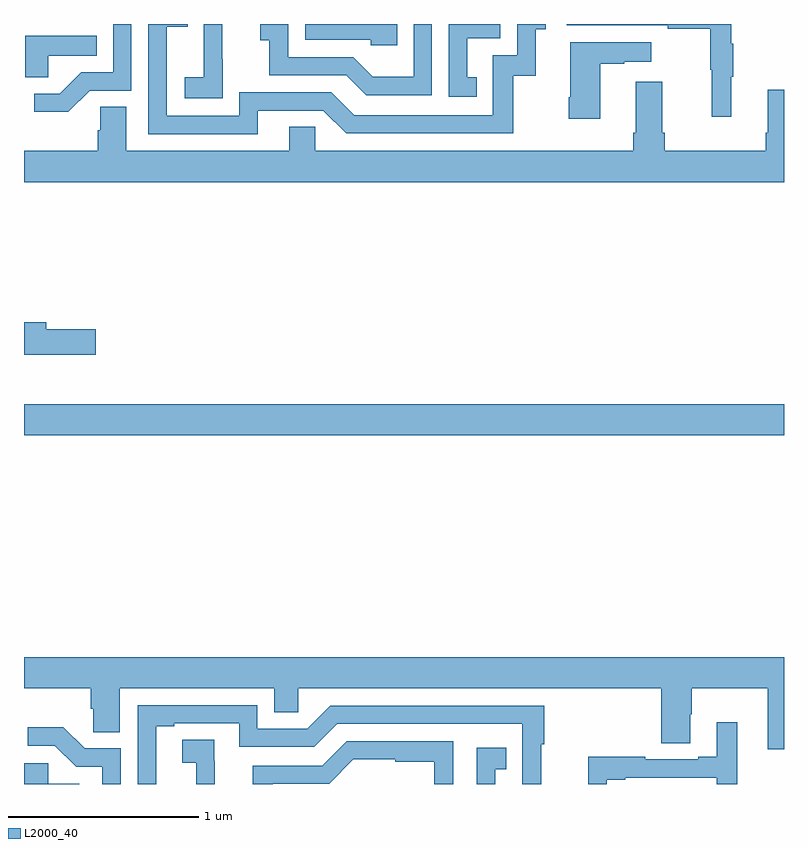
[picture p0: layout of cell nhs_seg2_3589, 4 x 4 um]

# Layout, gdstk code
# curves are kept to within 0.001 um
import gdstk
lib = gdstk.Library(unit=1e-6, precision=1e-09)
def R(c, l, rs):  # rectangles x0, y0, x1, y1
    for r in rs: c.add(gdstk.rectangle(r[:2], r[2:], *l))
def P(c, l, *ps):  # polygons
    for p in ps: c.add(gdstk.Polygon(p, *l))
L2000_40 = (2000, 40)

nhs_seg2_3589 = lib.new_cell('nhs_seg2_3589')
R(nhs_seg2_3589, L2000_40, [(299,647.636,303,647.8)])
P(nhs_seg2_3589, L2000_40, [(302.723,649.523),(302.734,649.523),(302.734,649.697),(302.723,649.697),(302.723,649.8),(301.857,649.8),(301.857,649.794),(302.389,649.794),(302.389,649.774),(302.613,649.774),(302.613,649.56),(302.62,649.56),(302.62,649.311),(302.723,649.311)],
  [(300.229,649.344),(300.576,649.344),(300.696,649.224),(301.576,649.224),(301.576,649.527),(301.694,649.527),(301.694,649.773),(301.747,649.773),(301.747,649.8),(301.596,649.8),(301.596,649.635),(301.467,649.635),(301.467,649.32),(300.738,649.32),(300.618,649.44),(300.132,649.44),(300.132,649.317),(299.751,649.317),(299.751,649.786),(299.861,649.786),(299.861,649.8),(299.655,649.8),(299.655,649.221),(300.229,649.221)],
  [(301.382,649.521),(301.333,649.521),(301.333,649.725),(301.506,649.725),(301.506,649.8),(301.236,649.8),(301.236,649.416),(301.382,649.416)],
  [(301.146,649.8),(301.05,649.8),(301.05,649.522),(300.836,649.522),(300.732,649.626),(300.39,649.626),(300.39,649.8),(300.243,649.8),(300.243,649.715),(300.292,649.715),(300.292,649.53),(300.695,649.53),(300.8,649.425),(301.146,649.425)],
  [(300.965,649.8),(300.48,649.8),(300.48,649.716),(300.825,649.716),(300.825,649.689),(300.965,649.689)],
  [(300.045,649.615),(300.044,649.615),(300.044,649.8),(299.946,649.8),(299.946,649.748),(299.945,649.748),(299.945,649.519),(299.847,649.519),(299.847,649.409),(300.045,649.409)],
  [(299.346,649.449),(299.565,649.449),(299.565,649.8),(299.469,649.8),(299.469,649.545),(299.3,649.545),(299.189,649.434),(299.055,649.434),(299.055,649.337),(299.233,649.337)],
  [(299.127,649.634),(299.384,649.634),(299.384,649.738),(299.006,649.738),(299.006,649.519),(299.127,649.519)],
  [(302.032,649.591),(302.159,649.591),(302.159,649.601),(302.302,649.601),(302.302,649.705),(301.874,649.705),(301.874,649.414),(301.867,649.414),(301.867,649.302),(302.032,649.302)],
  [(303,649.453),(302.915,649.453),(302.915,649.228),(302.903,649.228),(302.903,649.132),(302.372,649.132),(302.372,649.228),(302.359,649.228),(302.359,649.495),(302.219,649.495),(302.219,649.228),(302.207,649.228),(302.207,649.132),(300.534,649.132),(300.534,649.259),(300.395,649.259),(300.395,649.132),(299.539,649.132),(299.539,649.364),(299.4,649.364),(299.4,649.241),(299.387,649.241),(299.387,649.132),(299,649.132),(299,648.968),(303,648.968)],
  [(299.377,648.194),(299.116,648.194),(299.116,648.23),(299,648.23),(299,648.059),(299.377,648.059)],
  [(303,646.468),(299,646.468),(299,646.304),(299.351,646.304),(299.351,646.195),(299.364,646.195),(299.364,646.072),(299.503,646.072),(299.503,646.304),(300.317,646.304),(300.317,646.177),(300.444,646.177),(300.444,646.304),(302.354,646.304),(302.354,646.015),(302.506,646.015),(302.506,646.166),(302.514,646.166),(302.514,646.304),(302.915,646.304),(302.915,645.984),(303,645.984)],
  [(299.695,646.104),(299.791,646.104),(299.791,646.119),(300.132,646.119),(300.132,645.996),(300.528,645.996),(300.648,646.116),(301.623,646.116),(301.623,645.8),(301.722,645.8),(301.722,646.009),(301.739,646.009),(301.739,646.212),(300.612,646.212),(300.492,646.092),(300.228,646.092),(300.228,646.215),(299.598,646.215),(299.598,645.8),(299.695,645.8)],
  [(302.068,645.822),(302.164,645.822),(302.164,645.834),(302.645,645.834),(302.645,645.8),(302.755,645.8),(302.755,646.126),(302.645,646.126),(302.645,645.943),(302.549,645.943),(302.549,645.93),(302.27,645.93),(302.27,645.943),(301.969,645.943),(301.969,645.8),(302.068,645.8)],
  [(299.508,645.987),(299.319,645.987),(299.206,646.1),(299.019,646.1),(299.019,646.002),(299.163,646.002),(299.274,645.891),(299.412,645.891),(299.412,645.8),(299.508,645.8)],
  [(300.004,645.923),(300.002,645.923),(300.002,646.034),(299.832,646.034),(299.832,645.913),(299.906,645.913),(299.906,645.8),(300.004,645.8)],
  [(300.31,645.801),(300.606,645.801),(300.734,645.929),(300.953,645.929),(300.953,645.918),(301.159,645.918),(301.159,645.8),(301.26,645.8),(301.26,646.026),(300.699,646.026),(300.57,645.897),(300.203,645.897),(300.203,645.8)],
  [(301.48,645.878),(301.538,645.878),(301.538,645.991),(301.383,645.991),(301.383,645.8),(301.48,645.8)],
  [(299.29,645.802),(299.127,645.802),(299.127,645.909),(299,645.909),(299,645.8),(299.29,645.8)])

lib.write_gds('nhs_seg2_3589.gds')
